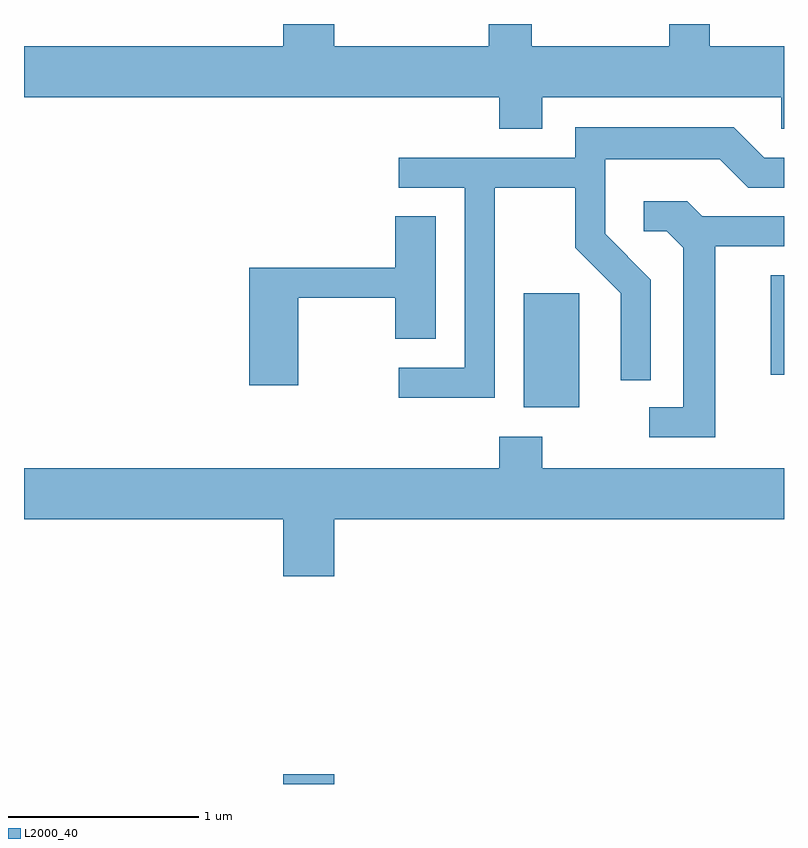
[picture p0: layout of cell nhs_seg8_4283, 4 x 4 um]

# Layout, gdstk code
import gdstk
lib = gdstk.Library(unit=1e-6, precision=1e-09)
def R(c, l, rs):  # rectangles x0, y0, x1, y1
    for r in rs: c.add(gdstk.rectangle(r[:2], r[2:], *l))
def P(c, l, *ps):  # polygons
    for p in ps: c.add(gdstk.Polygon(p, *l))
L2000_40 = (2000, 40)

nhs_seg8_4283 = lib.new_cell('nhs_seg8_4283')
R(nhs_seg8_4283, L2000_40, [(314.976,1848.342,315.244,1848.394), (316.241,1850.326,316.534,1850.924), (317.541,1850.496,317.611,1851.019)])
P(nhs_seg8_4283, L2000_40, [(316.339,1851.956),(317.596,1851.956),(317.596,1851.791),(317.611,1851.791),(317.611,1852.224),(317.219,1852.224),(317.219,1852.342),(317.006,1852.342),(317.006,1852.224),(316.284,1852.224),(316.284,1852.342),(316.056,1852.342),(316.056,1852.224),(315.244,1852.224),(315.244,1852.342),(314.976,1852.342),(314.976,1852.224),(313.611,1852.224),(313.611,1851.956),(316.111,1851.956),(316.111,1851.791),(316.339,1851.791)],
  [(316.089,1851.481),(316.511,1851.481),(316.511,1851.164),(316.751,1850.924),(316.751,1850.468),(316.909,1850.468),(316.909,1850.997),(316.669,1851.237),(316.669,1851.631),(317.274,1851.631),(317.424,1851.481),(317.611,1851.481),(317.611,1851.639),(317.507,1851.639),(317.347,1851.799),(316.511,1851.799),(316.511,1851.639),(315.583,1851.639),(315.583,1851.481),(315.931,1851.481),(315.931,1850.534),(315.583,1850.534),(315.583,1850.376),(316.089,1850.376)],
  [(317.249,1851.171),(317.611,1851.171),(317.611,1851.329),(317.182,1851.329),(317.102,1851.409),(316.873,1851.409),(316.873,1851.251),(316.994,1851.251),(317.081,1851.164),(317.081,1850.324),(316.903,1850.324),(316.903,1850.166),(317.249,1850.166)],
  [(315.054,1850.901),(315.566,1850.901),(315.566,1850.686),(315.779,1850.686),(315.779,1851.329),(315.566,1851.329),(315.566,1851.059),(314.796,1851.059),(314.796,1850.441),(315.054,1850.441)],
  [(315.244,1849.736),(317.611,1849.736),(317.611,1850.004),(316.339,1850.004),(316.339,1850.169),(316.111,1850.169),(316.111,1850.004),(313.611,1850.004),(313.611,1849.736),(314.976,1849.736),(314.976,1849.436),(315.244,1849.436)])

lib.write_gds('nhs_seg8_4283.gds')
